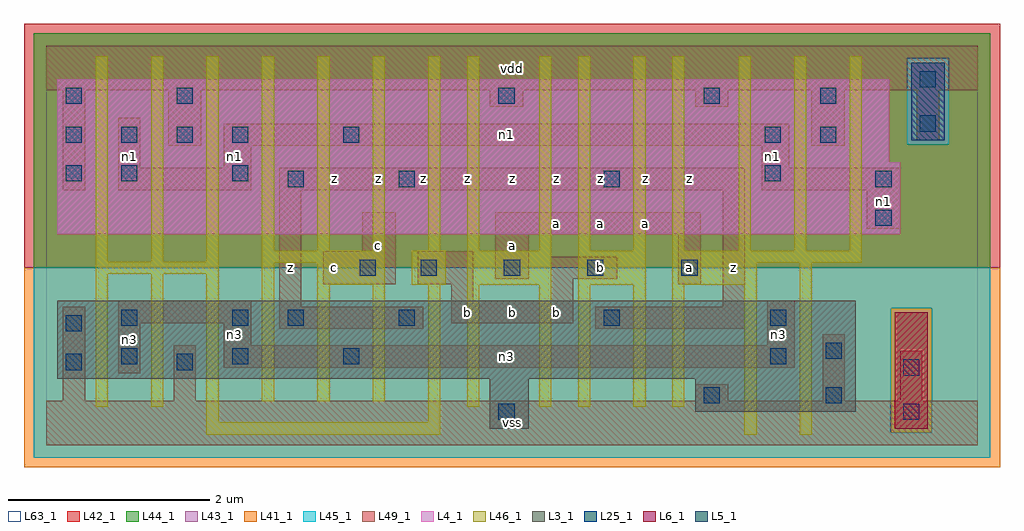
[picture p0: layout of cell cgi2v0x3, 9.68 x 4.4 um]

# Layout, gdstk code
import gdstk
lib = gdstk.Library(unit=1e-6, precision=1e-09)
def R(c, l, rs):  # rectangles x0, y0, x1, y1
    for r in rs: c.add(gdstk.rectangle(r[:2], r[2:], *l))
def A(c, l, x, y, w, h, nx, ny, dx, dy):  # array of equal rectangles
    R(c, l, [(x+i*dx, y+j*dy, x+i*dx+w, y+j*dy+h) for i in range(nx) for j in range(ny)])
L3_1 = (3, 1)
L4_1 = (4, 1)
L5_1 = (5, 1)
L6_1 = (6, 1)
L25_1 = (25, 1)
L41_1 = (41, 1)
L42_1 = (42, 1)
L43_1 = (43, 1)
L44_1 = (44, 1)
L45_1 = (45, 1)
L46_1 = (46, 1)
L49_1 = (49, 1)
L63_1 = (63, 1)

cgi2v0x3 = lib.new_cell('cgi2v0x3')
R(cgi2v0x3, L3_1, [(4.4,0.165,4.785,0.66), (6.435,0.33,8.03,0.66), (0.11,0.66,8.03,1.43)])
R(cgi2v0x3, L4_1, [(0.11,2.09,8.47,2.805), (0.11,2.805,8.36,3.63)])
R(cgi2v0x3, L5_1, [(8.58,3.025,8.91,3.795)])
R(cgi2v0x3, L6_1, [(8.415,0.165,8.745,1.32)])
A(cgi2v0x3, L25_1, 0.745, 0.8, 0.16, 0.16, 3, 1, 1.1, 0)
A(cgi2v0x3, L25_1, 3.715, 1.68, 0.16, 0.16, 3, 1, 0.825, 0)
A(cgi2v0x3, L25_1, 0.195, 3, 0.16, 0.16, 4, 1, 0.55, 0)
R(cgi2v0x3, L25_1, [(4.485,0.25,4.645,0.41), (8.5,0.25,8.66,0.41), (6.52,0.415,6.68,0.575), (7.73,0.415,7.89,0.575), (8.5,0.69,8.66,0.85), (0.195,0.745,0.355,0.905), (1.295,0.745,1.455,0.905), (7.18,0.8,7.34,0.96), (7.73,0.855,7.89,1.015), (0.195,1.13,0.355,1.29), (0.745,1.185,0.905,1.345), (1.845,1.185,2.005,1.345), (2.395,1.185,2.555,1.345), (3.495,1.185,3.655,1.345), (5.53,1.185,5.69,1.345), (7.18,1.185,7.34,1.345), (3.11,1.68,3.27,1.84), (6.3,1.68,6.46,1.84), (8.225,2.175,8.385,2.335), (2.395,2.56,2.555,2.72), (3.495,2.56,3.655,2.72), (5.53,2.56,5.69,2.72), (8.225,2.56,8.385,2.72), (0.195,2.615,0.355,2.775), (0.745,2.615,0.905,2.775), (1.845,2.615,2.005,2.775), (7.125,2.615,7.285,2.775), (2.945,3,3.105,3.16), (7.125,3,7.285,3.16), (7.675,3,7.835,3.16), (8.665,3.11,8.825,3.27), (0.195,3.385,0.355,3.545), (1.295,3.385,1.455,3.545), (4.485,3.385,4.645,3.545), (6.52,3.385,6.68,3.545), (7.675,3.385,7.835,3.545), (8.665,3.55,8.825,3.71)])
R(cgi2v0x3, L41_1, [(-0.22,-0.22,9.46,1.76)])
R(cgi2v0x3, L42_1, [(-0.22,1.76,9.46,4.18)])
R(cgi2v0x3, L43_1, [(4.4,0.165,4.785,0.66), (8.415,0.165,8.745,1.32), (6.435,0.33,8.03,0.66), (0.11,0.66,8.03,1.43), (0.11,2.09,8.47,2.805), (0.11,2.805,8.36,3.63), (8.58,3.025,8.91,3.795)])
R(cgi2v0x3, L44_1, [(8.375,0.125,8.785,1.36), (-0.125,1.76,9.365,2.985), (-0.125,2.985,8.54,3.835), (8.95,2.985,9.365,3.835), (-0.125,3.835,9.365,4.085)])
R(cgi2v0x3, L45_1, [(-0.125,-0.125,9.365,0.125), (-0.125,0.125,8.375,1.36), (8.785,0.125,9.365,1.36), (-0.125,1.36,9.365,1.76), (8.54,2.985,8.95,3.835)])
A(cgi2v0x3, L46_1, 0.49, 1.82, 0.12, 2.035, 3, 1, 0.55, 0)
A(cgi2v0x3, L46_1, 2.14, 1.93, 0.12, 1.925, 4, 1, 0.55, 0)
A(cgi2v0x3, L46_1, 6.87, 1.93, 0.12, 1.925, 3, 1, 0.55, 0)
R(cgi2v0x3, L46_1, [(1.59,0.105,3.91,0.225), (6.925,0.105,7.045,1.59), (7.475,0.105,7.595,1.81), (1.59,0.225,1.71,1.7), (3.79,0.225,3.91,1.59), (0.49,0.38,0.61,1.7), (1.04,0.38,1.16,1.7), (4.175,0.38,4.295,1.59), (4.89,0.38,5.01,1.59), (5.275,0.38,5.395,1.59), (5.825,0.38,5.945,1.59), (6.21,0.38,6.33,1.59), (2.14,0.435,2.26,1.81), (2.69,0.435,2.81,1.59), (3.24,0.435,3.36,1.59), (2.69,1.59,3.36,1.81), (3.625,1.59,3.965,1.93), (4.175,1.59,5.01,1.93), (5.275,1.59,5.945,1.93), (6.21,1.59,7.045,1.81), (0.49,1.7,1.71,1.82), (2.14,1.81,3.36,1.93), (6.21,1.81,8.09,1.93), (4.175,1.93,4.295,3.855), (4.89,1.93,5.01,3.855), (5.275,1.93,5.395,3.855), (5.825,1.93,5.945,3.855), (6.21,1.93,6.33,3.855)])
R(cgi2v0x3, L49_1, [(0,0,9.24,0.44), (0.165,0.44,0.385,1.375), (1.265,0.44,1.485,0.99), (6.435,0.44,6.765,0.605), (7.7,0.44,7.92,1.1), (8.47,0.44,8.69,0.935), (0.715,0.715,0.935,1.21), (1.76,0.77,7.425,0.99), (1.76,0.99,2.035,1.21), (7.15,0.99,7.425,1.43), (2.31,1.155,3.74,1.375), (5.445,1.155,6.93,1.375), (0.715,1.21,2.035,1.43), (4.015,1.21,5.225,1.43), (2.31,1.375,2.53,2.53), (6.71,1.375,6.93,2.53), (4.015,1.43,4.235,1.595), (5.005,1.43,5.225,1.65), (2.75,1.595,3.465,1.925), (3.685,1.595,4.235,1.925), (6.27,1.595,6.49,2.09), (4.455,1.65,4.785,2.09), (5.005,1.65,5.665,1.87), (3.135,1.925,3.465,2.31), (4.455,2.09,6.49,2.31), (8.14,2.145,8.47,2.53), (0.165,2.53,0.385,3.52), (0.715,2.53,2.035,2.75), (2.31,2.53,6.93,2.75), (7.095,2.53,8.47,2.75), (0.715,2.75,0.935,3.245), (1.76,2.75,2.035,2.97), (7.095,2.75,7.37,2.97), (1.21,2.97,1.54,3.52), (1.76,2.97,7.37,3.19), (7.59,2.97,7.92,3.52), (8.635,3.025,8.855,3.52), (4.4,3.355,4.73,3.52), (6.435,3.355,6.765,3.52), (0,3.52,9.24,3.96)])
R(cgi2v0x3, L63_1, [(0,0,9.24,3.96)])
cgi2v0x3.add(gdstk.Label('n3', (0.825,1.045), layer=49, texttype=1))
cgi2v0x3.add(gdstk.Label('n1', (0.825,2.86), layer=49, texttype=1))
cgi2v0x3.add(gdstk.Label('n3', (1.87,1.1), layer=49, texttype=1))
cgi2v0x3.add(gdstk.Label('z', (2.42,1.76), layer=49, texttype=1))
cgi2v0x3.add(gdstk.Label('c', (2.86,1.76), layer=49, texttype=1))
cgi2v0x3.add(gdstk.Label('c', (3.3,1.98), layer=49, texttype=1))
cgi2v0x3.add(gdstk.Label('z', (2.86,2.64), layer=49, texttype=1))
cgi2v0x3.add(gdstk.Label('z', (3.3,2.64), layer=49, texttype=1))
cgi2v0x3.add(gdstk.Label('n1', (1.87,2.86), layer=49, texttype=1))
cgi2v0x3.add(gdstk.Label('vss', (4.62,0.22), layer=49, texttype=1))
cgi2v0x3.add(gdstk.Label('b', (4.18,1.32), layer=49, texttype=1))
cgi2v0x3.add(gdstk.Label('b', (4.62,1.32), layer=49, texttype=1))
cgi2v0x3.add(gdstk.Label('b', (5.06,1.32), layer=49, texttype=1))
cgi2v0x3.add(gdstk.Label('a', (5.06,2.2), layer=49, texttype=1))
cgi2v0x3.add(gdstk.Label('a', (4.62,1.98), layer=49, texttype=1))
cgi2v0x3.add(gdstk.Label('z', (3.74,2.64), layer=49, texttype=1))
cgi2v0x3.add(gdstk.Label('z', (4.18,2.64), layer=49, texttype=1))
cgi2v0x3.add(gdstk.Label('z', (4.62,2.64), layer=49, texttype=1))
cgi2v0x3.add(gdstk.Label('z', (5.06,2.64), layer=49, texttype=1))
cgi2v0x3.add(gdstk.Label('vdd', (4.62,3.74), layer=49, texttype=1))
cgi2v0x3.add(gdstk.Label('a', (6.38,1.76), layer=49, texttype=1))
cgi2v0x3.add(gdstk.Label('z', (6.82,1.76), layer=49, texttype=1))
cgi2v0x3.add(gdstk.Label('b', (5.5,1.76), layer=49, texttype=1))
cgi2v0x3.add(gdstk.Label('a', (5.5,2.2), layer=49, texttype=1))
cgi2v0x3.add(gdstk.Label('a', (5.94,2.2), layer=49, texttype=1))
cgi2v0x3.add(gdstk.Label('z', (5.5,2.64), layer=49, texttype=1))
cgi2v0x3.add(gdstk.Label('z', (5.94,2.64), layer=49, texttype=1))
cgi2v0x3.add(gdstk.Label('z', (6.38,2.64), layer=49, texttype=1))
cgi2v0x3.add(gdstk.Label('n1', (7.205,2.86), layer=49, texttype=1))
cgi2v0x3.add(gdstk.Label('n1', (4.565,3.08), layer=49, texttype=1))
cgi2v0x3.add(gdstk.Label('n3', (7.26,1.1), layer=49, texttype=1))
cgi2v0x3.add(gdstk.Label('n3', (4.565,0.88), layer=49, texttype=1))
cgi2v0x3.add(gdstk.Label('n1', (8.305,2.42), layer=49, texttype=1))

lib.write_gds('cgi2v0x3.gds')
